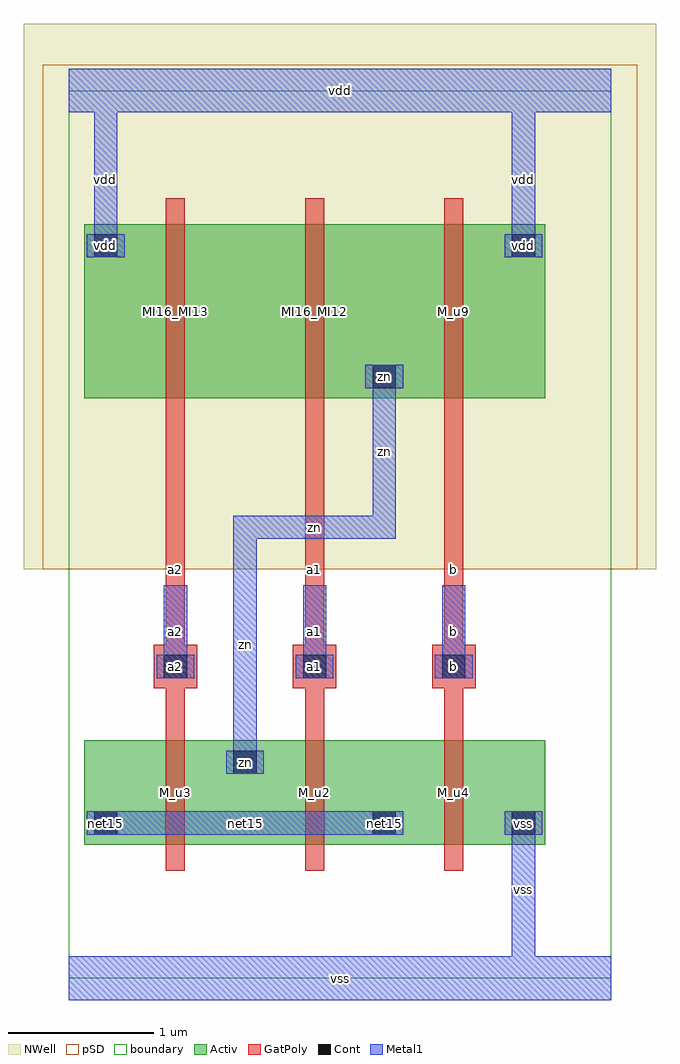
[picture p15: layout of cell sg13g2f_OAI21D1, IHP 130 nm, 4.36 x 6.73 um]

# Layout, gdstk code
import gdstk
lib = gdstk.Library(unit=1e-6, precision=1e-09)
def R(c, l, rs):  # rectangles x0, y0, x1, y1
    for r in rs: c.add(gdstk.rectangle(r[:2], r[2:], *l))
def A(c, l, x, y, w, h, nx, ny, dx, dy):  # array of equal rectangles
    R(c, l, [(x+i*dx, y+j*dy, x+i*dx+w, y+j*dy+h) for i in range(nx) for j in range(ny)])
Activ = (1, 0)
GatPoly = (5, 0)
Cont = (6, 0)
Metal1 = (8, 0)
pSD = (14, 0)
NWell = (31, 0)
TEXT = (63, 0)
boundary = (189, 4)

sg13g2f_oai21d1 = lib.new_cell('sg13g2f_OAI21D1')
A(sg13g2f_oai21d1, Activ, 0.105, 0.92, 1.26, 0.72, 3, 1, 0.96, 0)
A(sg13g2f_oai21d1, Activ, 0.105, 4, 1.26, 1.2, 3, 1, 0.96, 0)
R(sg13g2f_oai21d1, Activ, [(0.105,0.92,0.405,1.22), (2.025,0.92,2.325,1.22), (2.985,0.92,3.285,1.22), (1.065,1.34,1.365,1.64), (2.025,4,2.325,4.3), (0.105,4.9,0.405,5.2), (2.985,4.9,3.285,5.2)])
A(sg13g2f_oai21d1, GatPoly, 0.67, 0.74, 0.13, 1.08, 3, 1, 0.96, 0)
A(sg13g2f_oai21d1, GatPoly, 0.67, 1.425, 0.13, 2.79, 3, 1, 0.96, 0)
A(sg13g2f_oai21d1, GatPoly, 0.585, 2, 0.3, 0.3, 3, 1, 0.96, 0)
A(sg13g2f_oai21d1, GatPoly, 0.67, 3.82, 0.13, 1.56, 3, 1, 0.96, 0)
A(sg13g2f_oai21d1, Cont, 0.655, 2.07, 0.16, 0.16, 3, 1, 0.96, 0)
R(sg13g2f_oai21d1, Cont, [(0.175,0.99,0.335,1.15), (2.095,0.99,2.255,1.15), (3.055,0.99,3.215,1.15), (1.135,1.41,1.295,1.57), (2.095,4.07,2.255,4.23), (0.175,4.97,0.335,5.13), (3.055,4.97,3.215,5.13)])
A(sg13g2f_oai21d1, Metal1, 0.605, 2.07, 0.26, 0.16, 3, 1, 0.96, 0)
A(sg13g2f_oai21d1, Metal1, 0.655, 2.07, 0.16, 0.64, 3, 1, 0.96, 0)
R(sg13g2f_oai21d1, Metal1, [(0,-0.15,3.74,0.15), (3.055,0.07,3.215,1.15), (0.125,0.99,0.385,1.15), (0.175,0.99,2.255,1.15), (2.045,0.99,2.305,1.15), (3.005,0.99,3.265,1.15), (1.085,1.41,1.345,1.57), (1.135,1.41,1.295,3.19), (1.135,3.03,2.255,3.19), (2.095,3.03,2.255,4.23), (2.045,4.07,2.305,4.23), (0.125,4.97,0.385,5.13), (0.175,4.97,0.335,6.05), (3.005,4.97,3.265,5.13), (3.055,4.97,3.215,6.05), (0,5.97,3.74,6.27)])
R(sg13g2f_oai21d1, pSD, [(-0.18,2.82,3.92,5.94), (-0.18,5.94,3.92,6.3)])
R(sg13g2f_oai21d1, NWell, [(-0.31,2.82,4.05,6.58)])
R(sg13g2f_oai21d1, boundary, [(0,0,3.74,6.12)])
sg13g2f_oai21d1.add(gdstk.FlexPath([(0.105,0.41),(3.285,0.41)], 0, ends="flush", simple_path=True, layer=63, datatype=0))  # TEXT
sg13g2f_oai21d1.add(gdstk.FlexPath([(0.105,1.07),(3.285,1.07)], 0, ends="flush", simple_path=True, layer=63, datatype=0))  # TEXT
sg13g2f_oai21d1.add(gdstk.FlexPath([(0.105,1.49),(3.285,1.49)], 0, ends="flush", simple_path=True, layer=63, datatype=0))  # TEXT
sg13g2f_oai21d1.add(gdstk.FlexPath([(0.105,2.15),(3.285,2.15)], 0, ends="flush", simple_path=True, layer=63, datatype=0))  # TEXT
sg13g2f_oai21d1.add(gdstk.FlexPath([(0.105,2.63),(3.285,2.63)], 0, ends="flush", simple_path=True, layer=63, datatype=0))  # TEXT
sg13g2f_oai21d1.add(gdstk.FlexPath([(0.105,3.11),(3.285,3.11)], 0, ends="flush", simple_path=True, layer=63, datatype=0))  # TEXT
sg13g2f_oai21d1.add(gdstk.FlexPath([(0.105,4.15),(3.285,4.15)], 0, ends="flush", simple_path=True, layer=63, datatype=0))  # TEXT
sg13g2f_oai21d1.add(gdstk.FlexPath([(0.105,4.71),(3.285,4.71)], 0, ends="flush", simple_path=True, layer=63, datatype=0))  # TEXT
sg13g2f_oai21d1.add(gdstk.FlexPath([(0.105,5.05),(3.285,5.05)], 0, ends="flush", simple_path=True, layer=63, datatype=0))  # TEXT
sg13g2f_oai21d1.add(gdstk.FlexPath([(0.105,5.71),(3.285,5.71)], 0, ends="flush", simple_path=True, layer=63, datatype=0))  # TEXT
sg13g2f_oai21d1.add(gdstk.FlexPath([(0.255,0.07),(0.255,6.05)], 0, ends="flush", simple_path=True, layer=63, datatype=0))  # TEXT
sg13g2f_oai21d1.add(gdstk.FlexPath([(0.735,0.07),(0.735,6.05)], 0, ends="flush", simple_path=True, layer=63, datatype=0))  # TEXT
sg13g2f_oai21d1.add(gdstk.FlexPath([(1.215,0.07),(1.215,6.05)], 0, ends="flush", simple_path=True, layer=63, datatype=0))  # TEXT
sg13g2f_oai21d1.add(gdstk.FlexPath([(1.695,0.07),(1.695,6.05)], 0, ends="flush", simple_path=True, layer=63, datatype=0))  # TEXT
sg13g2f_oai21d1.add(gdstk.FlexPath([(2.175,0.07),(2.175,6.05)], 0, ends="flush", simple_path=True, layer=63, datatype=0))  # TEXT
sg13g2f_oai21d1.add(gdstk.FlexPath([(2.655,0.07),(2.655,6.05)], 0, ends="flush", simple_path=True, layer=63, datatype=0))  # TEXT
sg13g2f_oai21d1.add(gdstk.FlexPath([(3.135,0.07),(3.135,6.05)], 0, ends="flush", simple_path=True, layer=63, datatype=0))  # TEXT
sg13g2f_oai21d1.add(gdstk.Label('zn', (1.215,1.49), layer=6, texttype=0))
sg13g2f_oai21d1.add(gdstk.Label('zn', (2.175,4.15), layer=6, texttype=0))
sg13g2f_oai21d1.add(gdstk.Label('a1', (1.695,2.15), layer=6, texttype=0))
sg13g2f_oai21d1.add(gdstk.Label('net15', (2.175,1.07), layer=6, texttype=0))
sg13g2f_oai21d1.add(gdstk.Label('net15', (0.255,1.07), layer=6, texttype=0))
sg13g2f_oai21d1.add(gdstk.Label('a2', (0.735,2.15), layer=6, texttype=0))
sg13g2f_oai21d1.add(gdstk.Label('b', (2.655,2.15), layer=6, texttype=0))
sg13g2f_oai21d1.add(gdstk.Label('vss', (3.135,1.07), layer=6, texttype=0))
sg13g2f_oai21d1.add(gdstk.Label('vdd', (3.135,5.05), layer=6, texttype=0))
sg13g2f_oai21d1.add(gdstk.Label('vdd', (0.255,5.05), layer=6, texttype=0))
sg13g2f_oai21d1.add(gdstk.Label('net15', (2.175,1.07), layer=8, texttype=0))
sg13g2f_oai21d1.add(gdstk.Label('net15', (0.255,1.07), layer=8, texttype=0))
sg13g2f_oai21d1.add(gdstk.Label('net15', (1.215,1.07), layer=8, texttype=0))
sg13g2f_oai21d1.add(gdstk.Label('vss', (3.135,1.07), layer=8, texttype=0))
sg13g2f_oai21d1.add(gdstk.Label('vss', (3.135,0.61), layer=8, texttype=0))
sg13g2f_oai21d1.add(gdstk.Label('vdd', (3.135,5.05), layer=8, texttype=0))
sg13g2f_oai21d1.add(gdstk.Label('vdd', (3.135,5.51), layer=8, texttype=0))
sg13g2f_oai21d1.add(gdstk.Label('vdd', (0.255,5.05), layer=8, texttype=0))
sg13g2f_oai21d1.add(gdstk.Label('vdd', (0.255,5.51), layer=8, texttype=0))
sg13g2f_oai21d1.add(gdstk.Label('zn', (1.215,1.49), layer=8, texttype=2))
sg13g2f_oai21d1.add(gdstk.Label('zn', (2.175,4.15), layer=8, texttype=2))
sg13g2f_oai21d1.add(gdstk.Label('zn', (1.215,2.3), layer=8, texttype=2))
sg13g2f_oai21d1.add(gdstk.Label('zn', (1.695,3.11), layer=8, texttype=2))
sg13g2f_oai21d1.add(gdstk.Label('zn', (2.175,3.63), layer=8, texttype=2))
sg13g2f_oai21d1.add(gdstk.Label('a1', (1.695,2.15), layer=8, texttype=2))
sg13g2f_oai21d1.add(gdstk.Label('a1', (1.695,2.39), layer=8, texttype=2))
sg13g2f_oai21d1.add(gdstk.Label('a2', (0.735,2.15), layer=8, texttype=2))
sg13g2f_oai21d1.add(gdstk.Label('a2', (0.735,2.39), layer=8, texttype=2))
sg13g2f_oai21d1.add(gdstk.Label('b', (2.655,2.15), layer=8, texttype=2))
sg13g2f_oai21d1.add(gdstk.Label('b', (2.655,2.39), layer=8, texttype=2))
sg13g2f_oai21d1.add(gdstk.Label('vss', (1.87,0), layer=8, texttype=2))
sg13g2f_oai21d1.add(gdstk.Label('vdd', (1.87,6.12), layer=8, texttype=2))
sg13g2f_oai21d1.add(gdstk.Label('zn', (1.215,1.49), layer=8, texttype=2))
sg13g2f_oai21d1.add(gdstk.Label('zn', (2.175,4.15), layer=8, texttype=2))
sg13g2f_oai21d1.add(gdstk.Label('zn', (1.215,2.3), layer=8, texttype=2))
sg13g2f_oai21d1.add(gdstk.Label('zn', (1.695,3.11), layer=8, texttype=2))
sg13g2f_oai21d1.add(gdstk.Label('zn', (2.175,3.63), layer=8, texttype=2))
sg13g2f_oai21d1.add(gdstk.Label('a1', (1.695,2.15), layer=8, texttype=2))
sg13g2f_oai21d1.add(gdstk.Label('a1', (1.695,2.39), layer=8, texttype=2))
sg13g2f_oai21d1.add(gdstk.Label('a2', (0.735,2.15), layer=8, texttype=2))
sg13g2f_oai21d1.add(gdstk.Label('a2', (0.735,2.39), layer=8, texttype=2))
sg13g2f_oai21d1.add(gdstk.Label('b', (2.655,2.15), layer=8, texttype=2))
sg13g2f_oai21d1.add(gdstk.Label('b', (2.655,2.39), layer=8, texttype=2))
sg13g2f_oai21d1.add(gdstk.Label('vss', (1.87,0), layer=8, texttype=2))
sg13g2f_oai21d1.add(gdstk.Label('vdd', (1.87,6.12), layer=8, texttype=2))
sg13g2f_oai21d1.add(gdstk.Label('M_u2', (1.695,1.28), layer=1, texttype=0))
sg13g2f_oai21d1.add(gdstk.Label('M_u3', (0.735,1.28), layer=1, texttype=0))
sg13g2f_oai21d1.add(gdstk.Label('M_u4', (2.655,1.28), layer=1, texttype=0))
sg13g2f_oai21d1.add(gdstk.Label('MI16_MI12', (1.695,4.6), layer=1, texttype=0))
sg13g2f_oai21d1.add(gdstk.Label('M_u9', (2.655,4.6), layer=1, texttype=0))
sg13g2f_oai21d1.add(gdstk.Label('MI16_MI13', (0.735,4.6), layer=1, texttype=0))
sg13g2f_oai21d1.add(gdstk.Label('zn', (1.215,1.49), layer=1, texttype=0))
sg13g2f_oai21d1.add(gdstk.Label('zn', (2.175,4.15), layer=1, texttype=0))
sg13g2f_oai21d1.add(gdstk.Label('net15', (2.175,1.07), layer=1, texttype=0))
sg13g2f_oai21d1.add(gdstk.Label('net15', (0.255,1.07), layer=1, texttype=0))
sg13g2f_oai21d1.add(gdstk.Label('vss', (3.135,1.07), layer=1, texttype=0))
sg13g2f_oai21d1.add(gdstk.Label('vdd', (3.135,5.05), layer=1, texttype=0))
sg13g2f_oai21d1.add(gdstk.Label('vdd', (0.255,5.05), layer=1, texttype=0))
sg13g2f_oai21d1.add(gdstk.Label('zn', (1.215,1.49), layer=8, texttype=25))
sg13g2f_oai21d1.add(gdstk.Label('zn', (2.175,4.15), layer=8, texttype=25))
sg13g2f_oai21d1.add(gdstk.Label('zn', (1.215,2.3), layer=8, texttype=25))
sg13g2f_oai21d1.add(gdstk.Label('zn', (1.695,3.11), layer=8, texttype=25))
sg13g2f_oai21d1.add(gdstk.Label('zn', (2.175,3.63), layer=8, texttype=25))
sg13g2f_oai21d1.add(gdstk.Label('a1', (1.695,2.15), layer=8, texttype=25))
sg13g2f_oai21d1.add(gdstk.Label('a1', (1.695,2.39), layer=8, texttype=25))
sg13g2f_oai21d1.add(gdstk.Label('a2', (0.735,2.15), layer=8, texttype=25))
sg13g2f_oai21d1.add(gdstk.Label('a2', (0.735,2.39), layer=8, texttype=25))
sg13g2f_oai21d1.add(gdstk.Label('b', (2.655,2.15), layer=8, texttype=25))
sg13g2f_oai21d1.add(gdstk.Label('b', (2.655,2.39), layer=8, texttype=25))
sg13g2f_oai21d1.add(gdstk.Label('vss', (1.87,0), layer=8, texttype=25))
sg13g2f_oai21d1.add(gdstk.Label('vdd', (1.87,6.12), layer=8, texttype=25))
sg13g2f_oai21d1.add(gdstk.Label('a1', (1.695,2.82), layer=5, texttype=0))
sg13g2f_oai21d1.add(gdstk.Label('a1', (1.695,2.15), layer=5, texttype=0))
sg13g2f_oai21d1.add(gdstk.Label('a2', (0.735,2.82), layer=5, texttype=0))
sg13g2f_oai21d1.add(gdstk.Label('a2', (0.735,2.15), layer=5, texttype=0))
sg13g2f_oai21d1.add(gdstk.Label('b', (2.655,2.82), layer=5, texttype=0))
sg13g2f_oai21d1.add(gdstk.Label('b', (2.655,2.15), layer=5, texttype=0))

lib.write_gds('sg13g2f_OAI21D1.gds')
